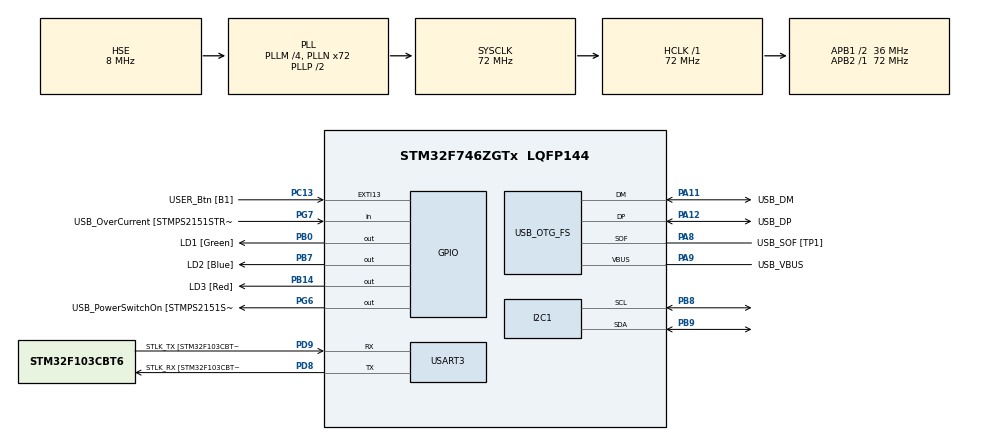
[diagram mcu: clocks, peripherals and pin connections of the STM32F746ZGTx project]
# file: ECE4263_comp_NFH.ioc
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I2C1.Timing=0x00808CD2
Mcu.Family=STM32F7
Mcu.Name=STM32F746ZGTx
Mcu.Package=LQFP144
NVIC.PriorityGroup=NVIC_PRIORITYGROUP_4
PA1.GPIO_Label=RMII_REF_CLK [LAN8742A-CZ-TR_REFCLK0]
PA1.Signal=ETH_REF_CLK
PA10.GPIO_Label=USB_ID
PA10.Signal=USB_OTG_FS_ID
PA11.GPIO_Label=USB_DM
PA11.Mode=Device_Only
PA11.Signal=USB_OTG_FS_DM
PA12.GPIO_Label=USB_DP
PA12.Mode=Device_Only
PA12.Signal=USB_OTG_FS_DP
PA13.GPIO_Label=TMS
PA13.Mode=Serial_Wire
PA13.Signal=SYS_JTMS-SWDIO
PA14.GPIO_Label=TCK
PA14.Mode=Serial_Wire
PA14.Signal=SYS_JTCK-SWCLK
PA2.GPIO_Label=RMII_MDIO [LAN8742A-CZ-TR_MDIO]
PA2.Signal=ETH_MDIO
PA7.GPIO_Label=RMII_CRS_DV [LAN8742A-CZ-TR_CRS_DV]
PA7.Signal=ETH_CRS_DV
PA8.GPIO_Label=USB_SOF [TP1]
PA8.Mode=Activate_SOF_FS
PA8.Signal=USB_OTG_FS_SOF
PA9.GPIO_Label=USB_VBUS
PA9.Mode=Activate_VBUS
PA9.Signal=USB_OTG_FS_VBUS
PB0.GPIO_Label=LD1 [Green]
PB0.Signal=GPIO_Output
PB13.GPIO_Label=RMII_TXD1 [LAN8742A-CZ-TR_TXD1]
PB13.Signal=ETH_TXD1
PB14.GPIO_Label=LD3 [Red]
PB14.Signal=GPIO_Output
PB3.GPIO_Label=SW0
PB3.Signal=SYS_JTDO-SWO
PB7.GPIO_Label=LD2 [Blue]
PB7.Signal=GPIO_Output
PB8.Mode=I2C
PB8.Signal=I2C1_SCL
PB9.Mode=I2C
PB9.Signal=I2C1_SDA
PC1.GPIO_Label=RMII_MDC [LAN8742A-CZ-TR_MDC]
PC1.Signal=ETH_MDC
PC13.GPIO_Label=USER_Btn [B1]
PC13.Signal=GPXTI13
PC14/OSC32_IN.Mode=LSE-External-Oscillator
PC14/OSC32_IN.Signal=RCC_OSC32_IN
PC15/OSC32_OUT.Mode=LSE-External-Oscillator
PC15/OSC32_OUT.Signal=RCC_OSC32_OUT
PC4.GPIO_Label=RMII_RXD0 [LAN8742A-CZ-TR_RXD0]
PC4.Signal=ETH_RXD0
PC5.GPIO_Label=RMII_RXD1 [LAN8742A-CZ-TR_RXD1]
PC5.Signal=ETH_RXD1
PD8.GPIO_Label=STLK_RX [STM32F103CBT6_PA3]
PD8.Mode=Asynchronous
PD8.Signal=USART3_TX
PD9.GPIO_Label=STLK_TX [STM32F103CBT6_PA2]
PD9.Mode=Asynchronous
PD9.Signal=USART3_RX
PG11.GPIO_Label=RMII_TX_EN [LAN8742A-CZ-TR_TXEN]
PG11.Signal=ETH_TX_EN
PG13.GPIO_Label=RMII_TXD0 [LAN8742A-CZ-TR_TXD0]
PG13.Signal=ETH_TXD0
PG6.GPIO_Label=USB_PowerSwitchOn [STMPS2151STR_EN]
PG6.Signal=GPIO_Output
PG7.GPIO_Label=USB_OverCurrent [STMPS2151STR_FAULT]
PG7.Signal=GPIO_Input
PH0/OSC_IN.GPIO_Label=MCO [STM32F103CBT6_PA8]
PH0/OSC_IN.Mode=HSE-External-Clock-Source
PH0/OSC_IN.Signal=RCC_OSC_IN
PH1/OSC_OUT.Mode=HSE-External-Clock-Source
PH1/OSC_OUT.Signal=RCC_OSC_OUT
ProjectManager.HeapSize=0x200
ProjectManager.StackSize=0x400
ProjectManager.TargetToolchain=STM32CubeIDE
RCC.48MHZClocksFreq_Value=24000000
RCC.AHBFreq_Value=72000000
RCC.APB1CLKDivider=RCC_HCLK_DIV2
RCC.APB1Freq_Value=36000000
RCC.APB1TimFreq_Value=72000000
RCC.APB2Freq_Value=72000000
RCC.APB2TimFreq_Value=72000000
RCC.CortexFreq_Value=72000000
RCC.HCLKFreq_Value=72000000
RCC.HSE_VALUE=8000000
RCC.HSI_VALUE=16000000
RCC.PLLM=4
RCC.PLLMUL=RCC_PLL_MUL9
RCC.PLLN=72
RCC.PLLQ=3
RCC.PRESCALERUSB=RCC_USBCLKSOURCE_PLL_DIV1_5
RCC.SYSCLKFreq_VALUE=72000000
RCC.SYSCLKSource=RCC_SYSCLKSOURCE_PLLCLK
RCC.SYSCLKSourceVirtual=RCC_SYSCLKSOURCE_PLLCLK
RCC.USBFreq_Value=48000000
RCC.VCOOutputFreq_Value=144000000
USART3.VirtualMode-Asynchronous=VM_ASYNC
USB_OTG_FS.VirtualMode=Device_Only
board=NUCLEO-F746ZG

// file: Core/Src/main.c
/* USER CODE BEGIN Header */
/**
  ******************************************************************************
  * @file           : main.c
  * @brief          : Main program body
  ******************************************************************************
  * @attention
  *
  * <h2><center>&copy; Copyright (c) 2021 STMicroelectronics.
  * All rights reserved.</center></h2>
  *
  * This software component is licensed by ST under BSD 3-Clause license,
  * the "License"; You may not use this file except in compliance with the
  * License. You may obtain a copy of the License at:
  *                        opensource.org/licenses/BSD-3-Clause
  *
  ******************************************************************************
  */
/* USER CODE END Header */
#include "main.h"

/* USER CODE BEGIN Includes */
#include "stdio.h"
#include "string.h"
#include "stdint.h"
/* USER CODE END Includes */

I2C_HandleTypeDef hi2c1;

UART_HandleTypeDef huart3;

PCD_HandleTypeDef hpcd_USB_OTG_FS;

/* USER CODE BEGIN PV */
#define HMC5883L_ADDR 0x1E << 1 //0x3D for read 0x3C for write
#define HMC5883L_ADDR_READ 0x3D
#define HMC5883L_ADDR_WRITE 0x3C
#define HMC5883L_CONFIG_A 0x00
#define HMC5883L_CONFIG_B 0x01
#define HMC5883L_MODE 0x02
#define HMC5883L_DATA_X_MSB 0x03
#define HMC5883L_DATA_X_LSB 0x04
#define HMC5883L_DATA_Z_MSB 0x05
#define HMC5883L_DATA_Z_LSB 0x06
#define HMC5883L_DATA_Y_MSB 0x07
#define HMC5883L_DATA_Y_LSB 0x08
#define HMC5883L_STATUS 0x09
#define HMC5883L_ID_A 0x0A
#define HMC5883L_ID_B 0x0B
#define HMC5883L_ID_C 0x0C

/* USER CODE END PV */

void SystemClock_Config(void);
static void MX_GPIO_Init(void);
static void MX_USART3_UART_Init(void);
static void MX_USB_OTG_FS_PCD_Init(void);
static void MX_I2C1_Init(void);

int main(void)
{

  /* MCU Configuration--------------------------------------------------------*/

  /* Reset of all peripherals, Initializes the Flash interface and the Systick. */
  HAL_Init();

  /* Configure the system clock */
  SystemClock_Config();

  /* Initialize all configured peripherals */
  MX_GPIO_Init();
  MX_USART3_UART_Init();
  MX_USB_OTG_FS_PCD_Init();
  MX_I2C1_Init();
  /* USER CODE BEGIN 2 */
  uint8_t data = 0x70;
  uint8_t buffer[8];

  uint8_t RegSettingA = 0x70;
  uint8_t RegSettingB = 0x20;
  uint8_t RegSettingMR = 0x00;

  float xRaw = 0;
  float yRaw = 0;
  float zRaw = 0;

  data = RegSettingA;
  HAL_I2C_Mem_Write(&hi2c1, HMC5883L_ADDR, HMC5883L_CONFIG_A, 1, &data, 1, HAL_MAX_DELAY);
  data = RegSettingB;
  HAL_I2C_Mem_Write(&hi2c1, HMC5883L_ADDR, HMC5883L_CONFIG_B, 1, &data, 1, HAL_MAX_DELAY);
  data = RegSettingMR;
  HAL_I2C_Mem_Write(&hi2c1, HMC5883L_ADDR, HMC5883L_MODE, 1, &data, 1, HAL_MAX_DELAY);

  HAL_Delay(10);

  /* USER CODE END 2 */

  /* Infinite loop */
  /* USER CODE BEGIN WHILE */
  while (1)
  {
	  HAL_I2C_Mem_Read(&hi2c1, HMC5883L_ADDR, HMC5883L_DATA_X_MSB, 1, buffer, 6, HAL_MAX_DELAY);

	  xRaw = (int16_t)(buffer[0] << 8 | buffer [1])/660.0f;
	  zRaw = (int16_t)(buffer[2] << 8 | buffer [3])/660.0f;
	  yRaw = (int16_t)(buffer[4] << 8 | buffer [5])/660.0f;

	  HAL_I2C_Mem_Write(&hi2c1, HMC5883L_ADDR, HMC5883L_DATA_X_MSB, 1, 0x00, 1, HAL_MAX_DELAY);

	  HAL_Delay(100);

    /* USER CODE END WHILE */

  }
}

void SystemClock_Config(void)
{
  RCC_OscInitTypeDef RCC_OscInitStruct = {0};
  RCC_ClkInitTypeDef RCC_ClkInitStruct = {0};
  RCC_PeriphCLKInitTypeDef PeriphClkInitStruct = {0};

  /** Configure LSE Drive Capability
  */
  HAL_PWR_EnableBkUpAccess();
  /** Configure the main internal regulator output voltage
  */
  __HAL_RCC_PWR_CLK_ENABLE();
  __HAL_PWR_VOLTAGESCALING_CONFIG(PWR_REGULATOR_VOLTAGE_SCALE3);
  /** Initializes the RCC Oscillators according to the specified parameters
  * in the RCC_OscInitTypeDef structure.
  */
  RCC_OscInitStruct.OscillatorType = RCC_OSCILLATORTYPE_HSE;
  RCC_OscInitStruct.HSEState = RCC_HSE_BYPASS;
  RCC_OscInitStruct.PLL.PLLState = RCC_PLL_ON;
  RCC_OscInitStruct.PLL.PLLSource = RCC_PLLSOURCE_HSE;
  RCC_OscInitStruct.PLL.PLLM = 4;
  RCC_OscInitStruct.PLL.PLLN = 72;
  RCC_OscInitStruct.PLL.PLLP = RCC_PLLP_DIV2;
  RCC_OscInitStruct.PLL.PLLQ = 3;
  if (HAL_RCC_OscConfig(&RCC_OscInitStruct) != HAL_OK)
  {
    Error_Handler();
  }
  /** Initializes the CPU, AHB and APB buses clocks
  */
  RCC_ClkInitStruct.ClockType = RCC_CLOCKTYPE_HCLK|RCC_CLOCKTYPE_SYSCLK
                              |RCC_CLOCKTYPE_PCLK1|RCC_CLOCKTYPE_PCLK2;
  RCC_ClkInitStruct.SYSCLKSource = RCC_SYSCLKSOURCE_PLLCLK;
  RCC_ClkInitStruct.AHBCLKDivider = RCC_SYSCLK_DIV1;
  RCC_ClkInitStruct.APB1CLKDivider = RCC_HCLK_DIV2;
  RCC_ClkInitStruct.APB2CLKDivider = RCC_HCLK_DIV1;

  if (HAL_RCC_ClockConfig(&RCC_ClkInitStruct, FLASH_LATENCY_2) != HAL_OK)
  {
    Error_Handler();
  }
  PeriphClkInitStruct.PeriphClockSelection = RCC_PERIPHCLK_USART3|RCC_PERIPHCLK_I2C1
                              |RCC_PERIPHCLK_CLK48;
  PeriphClkInitStruct.Usart3ClockSelection = RCC_USART3CLKSOURCE_PCLK1;
  PeriphClkInitStruct.I2c1ClockSelection = RCC_I2C1CLKSOURCE_PCLK1;
  PeriphClkInitStruct.Clk48ClockSelection = RCC_CLK48SOURCE_PLL;
  if (HAL_RCCEx_PeriphCLKConfig(&PeriphClkInitStruct) != HAL_OK)
  {
    Error_Handler();
  }
}

static void MX_I2C1_Init(void)
{

  hi2c1.Instance = I2C1;
  hi2c1.Init.Timing = 0x00808CD2;
  hi2c1.Init.OwnAddress1 = 0;
  hi2c1.Init.AddressingMode = I2C_ADDRESSINGMODE_7BIT;
  hi2c1.Init.DualAddressMode = I2C_DUALADDRESS_DISABLE;
  hi2c1.Init.OwnAddress2 = 0;
  hi2c1.Init.OwnAddress2Masks = I2C_OA2_NOMASK;
  hi2c1.Init.GeneralCallMode = I2C_GENERALCALL_DISABLE;
  hi2c1.Init.NoStretchMode = I2C_NOSTRETCH_DISABLE;
  if (HAL_I2C_Init(&hi2c1) != HAL_OK)
  {
    Error_Handler();
  }
  /** Configure Analogue filter
  */
  if (HAL_I2CEx_ConfigAnalogFilter(&hi2c1, I2C_ANALOGFILTER_ENABLE) != HAL_OK)
  {
    Error_Handler();
  }
  /** Configure Digital filter
  */
  if (HAL_I2CEx_ConfigDigitalFilter(&hi2c1, 0) != HAL_OK)
  {
    Error_Handler();
  }

}

static void MX_USART3_UART_Init(void)
{

  huart3.Instance = USART3;
  huart3.Init.BaudRate = 115200;
  huart3.Init.WordLength = UART_WORDLENGTH_8B;
  huart3.Init.StopBits = UART_STOPBITS_1;
  huart3.Init.Parity = UART_PARITY_NONE;
  huart3.Init.Mode = UART_MODE_TX_RX;
  huart3.Init.HwFlowCtl = UART_HWCONTROL_NONE;
  huart3.Init.OverSampling = UART_OVERSAMPLING_16;
  huart3.Init.OneBitSampling = UART_ONE_BIT_SAMPLE_DISABLE;
  huart3.AdvancedInit.AdvFeatureInit = UART_ADVFEATURE_NO_INIT;
  if (HAL_UART_Init(&huart3) != HAL_OK)
  {
    Error_Handler();
  }

}

static void MX_USB_OTG_FS_PCD_Init(void)
{

  hpcd_USB_OTG_FS.Instance = USB_OTG_FS;
  hpcd_USB_OTG_FS.Init.dev_endpoints = 6;
  hpcd_USB_OTG_FS.Init.speed = PCD_SPEED_FULL;
  hpcd_USB_OTG_FS.Init.dma_enable = DISABLE;
  hpcd_USB_OTG_FS.Init.phy_itface = PCD_PHY_EMBEDDED;
  hpcd_USB_OTG_FS.Init.Sof_enable = ENABLE;
  hpcd_USB_OTG_FS.Init.low_power_enable = DISABLE;
  hpcd_USB_OTG_FS.Init.lpm_enable = DISABLE;
  hpcd_USB_OTG_FS.Init.vbus_sensing_enable = ENABLE;
  hpcd_USB_OTG_FS.Init.use_dedicated_ep1 = DISABLE;
  if (HAL_PCD_Init(&hpcd_USB_OTG_FS) != HAL_OK)
  {
    Error_Handler();
  }

}

static void MX_GPIO_Init(void)
{
  GPIO_InitTypeDef GPIO_InitStruct = {0};

  /* GPIO Ports Clock Enable */
  __HAL_RCC_GPIOC_CLK_ENABLE();
  __HAL_RCC_GPIOH_CLK_ENABLE();
  __HAL_RCC_GPIOA_CLK_ENABLE();
  __HAL_RCC_GPIOB_CLK_ENABLE();
  __HAL_RCC_GPIOD_CLK_ENABLE();
  __HAL_RCC_GPIOG_CLK_ENABLE();

  /*Configure GPIO pin Output Level */
  HAL_GPIO_WritePin(GPIOB, LD1_Pin|LD3_Pin|LD2_Pin, GPIO_PIN_RESET);

  /*Configure GPIO pin Output Level */
  HAL_GPIO_WritePin(USB_PowerSwitchOn_GPIO_Port, USB_PowerSwitchOn_Pin, GPIO_PIN_RESET);

  /*Configure GPIO pin : USER_Btn_Pin */
  GPIO_InitStruct.Pin = USER_Btn_Pin;
  GPIO_InitStruct.Mode = GPIO_MODE_IT_RISING;
  GPIO_InitStruct.Pull = GPIO_NOPULL;
  HAL_GPIO_Init(USER_Btn_GPIO_Port, &GPIO_InitStruct);

  /*Configure GPIO pins : RMII_MDC_Pin RMII_RXD0_Pin RMII_RXD1_Pin */
  GPIO_InitStruct.Pin = RMII_MDC_Pin|RMII_RXD0_Pin|RMII_RXD1_Pin;
  GPIO_InitStruct.Mode = GPIO_MODE_AF_PP;
  GPIO_InitStruct.Pull = GPIO_NOPULL;
  GPIO_InitStruct.Speed = GPIO_SPEED_FREQ_VERY_HIGH;
  GPIO_InitStruct.Alternate = GPIO_AF11_ETH;
  HAL_GPIO_Init(GPIOC, &GPIO_InitStruct);

  /*Configure GPIO pins : RMII_REF_CLK_Pin RMII_MDIO_Pin RMII_CRS_DV_Pin */
  GPIO_InitStruct.Pin = RMII_REF_CLK_Pin|RMII_MDIO_Pin|RMII_CRS_DV_Pin;
  GPIO_InitStruct.Mode = GPIO_MODE_AF_PP;
  GPIO_InitStruct.Pull = GPIO_NOPULL;
  GPIO_InitStruct.Speed = GPIO_SPEED_FREQ_VERY_HIGH;
  GPIO_InitStruct.Alternate = GPIO_AF11_ETH;
  HAL_GPIO_Init(GPIOA, &GPIO_InitStruct);

  /*Configure GPIO pins : LD1_Pin LD3_Pin LD2_Pin */
  GPIO_InitStruct.Pin = LD1_Pin|LD3_Pin|LD2_Pin;
  GPIO_InitStruct.Mode = GPIO_MODE_OUTPUT_PP;
  GPIO_InitStruct.Pull = GPIO_NOPULL;
  GPIO_InitStruct.Speed = GPIO_SPEED_FREQ_LOW;
  HAL_GPIO_Init(GPIOB, &GPIO_InitStruct);

  /*Configure GPIO pin : RMII_TXD1_Pin */
  GPIO_InitStruct.Pin = RMII_TXD1_Pin;
  GPIO_InitStruct.Mode = GPIO_MODE_AF_PP;
  GPIO_InitStruct.Pull = GPIO_NOPULL;
  GPIO_InitStruct.Speed = GPIO_SPEED_FREQ_VERY_HIGH;
  GPIO_InitStruct.Alternate = GPIO_AF11_ETH;
  HAL_GPIO_Init(RMII_TXD1_GPIO_Port, &GPIO_InitStruct);

  /*Configure GPIO pin : USB_PowerSwitchOn_Pin */
  GPIO_InitStruct.Pin = USB_PowerSwitchOn_Pin;
  GPIO_InitStruct.Mode = GPIO_MODE_OUTPUT_PP;
  GPIO_InitStruct.Pull = GPIO_NOPULL;
  GPIO_InitStruct.Speed = GPIO_SPEED_FREQ_LOW;
  HAL_GPIO_Init(USB_PowerSwitchOn_GPIO_Port, &GPIO_InitStruct);

  /*Configure GPIO pin : USB_OverCurrent_Pin */
  GPIO_InitStruct.Pin = USB_OverCurrent_Pin;
  GPIO_InitStruct.Mode = GPIO_MODE_INPUT;
  GPIO_InitStruct.Pull = GPIO_NOPULL;
  HAL_GPIO_Init(USB_OverCurrent_GPIO_Port, &GPIO_InitStruct);

  /*Configure GPIO pins : RMII_TX_EN_Pin RMII_TXD0_Pin */
  GPIO_InitStruct.Pin = RMII_TX_EN_Pin|RMII_TXD0_Pin;
  GPIO_InitStruct.Mode = GPIO_MODE_AF_PP;
  GPIO_InitStruct.Pull = GPIO_NOPULL;
  GPIO_InitStruct.Speed = GPIO_SPEED_FREQ_VERY_HIGH;
  GPIO_InitStruct.Alternate = GPIO_AF11_ETH;
  HAL_GPIO_Init(GPIOG, &GPIO_InitStruct);

}

void Error_Handler(void)
{
  __disable_irq();
  while (1)
  {
  }
}

/************************ (C) COPYRIGHT STMicroelectronics *****END OF FILE****/
